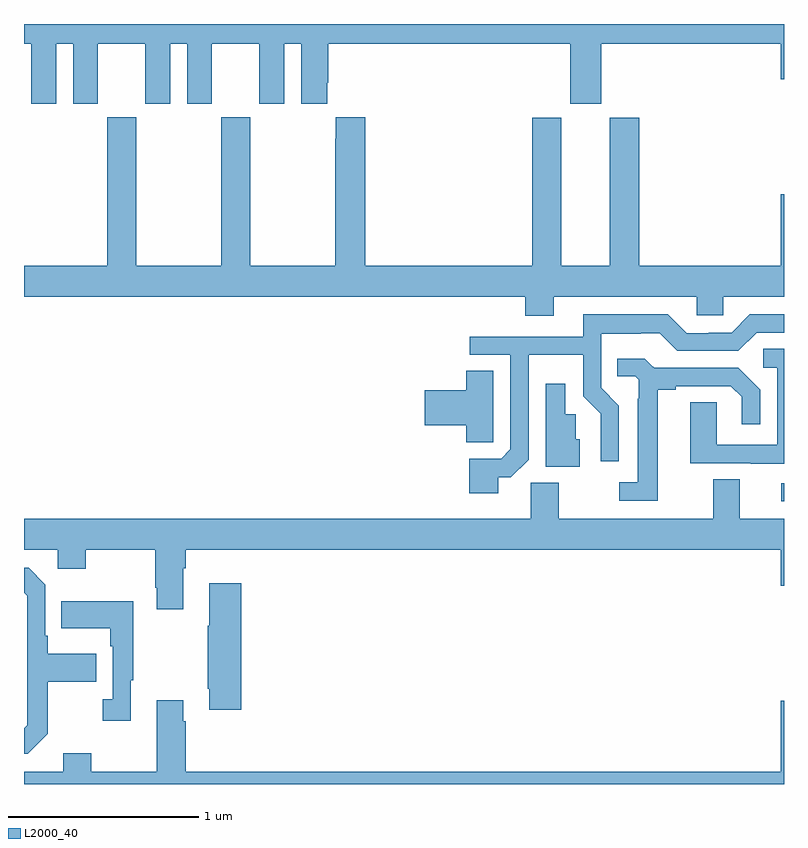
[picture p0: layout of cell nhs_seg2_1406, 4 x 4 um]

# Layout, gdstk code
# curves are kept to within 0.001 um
import gdstk
lib = gdstk.Library(unit=1e-6, precision=1e-09)
def R(c, l, rs):  # rectangles x0, y0, x1, y1
    for r in rs: c.add(gdstk.rectangle(r[:2], r[2:], *l))
def P(c, l, *ps):  # polygons
    for p in ps: c.add(gdstk.Polygon(p, *l))
L2000_40 = (2000, 40)

nhs_seg2_1406 = lib.new_cell('nhs_seg2_1406')
R(nhs_seg2_1406, L2000_40, [(188.985,585.288,189,585.384)])
P(nhs_seg2_1406, L2000_40, [(185,587.696),(185.039,587.696),(185.039,587.379),(185.17,587.379),(185.17,587.696),(185.258,587.696),(185.258,587.379),(185.389,587.379),(185.389,587.696),(185.639,587.696),(185.639,587.379),(185.77,587.379),(185.77,587.696),(185.858,587.696),(185.858,587.379),(185.989,587.379),(185.989,587.696),(186.239,587.696),(186.239,587.379),(186.37,587.379),(186.37,587.696),(186.458,587.696),(186.458,587.379),(186.595,587.379),(186.595,587.491),(186.602,587.491),(186.602,587.696),(187.874,587.696),(187.874,587.379),(188.038,587.379),(188.038,587.696),(188.984,587.696),(188.984,587.508),(189,587.508),(189,587.8),(185,587.8)],
  [(188.237,587.307),(188.084,587.307),(188.084,586.528),(187.828,586.528),(187.828,587.307),(187.676,587.307),(187.676,586.528),(186.797,586.528),(186.797,587.308),(186.641,587.308),(186.641,587.195),(186.637,587.195),(186.637,586.528),(186.192,586.528),(186.192,587.308),(186.037,587.308),(186.037,586.528),(185.592,586.528),(185.592,587.308),(185.437,587.308),(185.437,586.528),(185,586.528),(185,586.364),(187.637,586.364),(187.637,586.265),(187.789,586.265),(187.789,586.364),(188.541,586.364),(188.541,586.266),(188.679,586.266),(188.679,586.364),(189,586.364),(189,586.903),(188.984,586.903),(188.984,586.528),(188.237,586.528)],
  [(187.495,585.415),(187.563,585.415),(187.656,585.507),(187.656,586.058),(187.944,586.058),(187.944,585.842),(188.036,585.75),(188.036,585.498),(188.13,585.498),(188.13,585.792),(188.037,585.885),(188.037,586.169),(188.246,586.169),(188.246,586.173),(188.346,586.173),(188.439,586.08),(188.76,586.08),(188.856,586.176),(189,586.176),(189,586.272),(188.82,586.272),(188.724,586.176),(188.604,586.176),(188.604,586.173),(188.487,586.173),(188.387,586.273),(187.943,586.273),(187.943,586.155),(187.347,586.155),(187.347,586.059),(187.56,586.059),(187.56,585.561),(187.512,585.513),(187.343,585.513),(187.343,585.33),(187.495,585.33)],
  [(189,586.091),(188.892,586.091),(188.892,585.99),(188.964,585.99),(188.964,585.585),(188.646,585.585),(188.646,585.809),(188.507,585.809),(188.507,585.489),(188.825,585.489),(188.825,585.485),(189,585.485)],
  [(188.335,585.874),(188.431,585.874),(188.431,585.894),(188.72,585.894),(188.777,585.837),(188.777,585.693),(188.874,585.693),(188.874,585.874),(188.758,585.99),(188.316,585.99),(188.268,586.037),(188.122,586.037),(188.122,585.945),(188.217,585.945),(188.235,585.927),(188.235,585.827),(188.231,585.827),(188.231,585.387),(188.133,585.387),(188.133,585.291),(188.335,585.291)],
  [(187.47,585.706),(187.471,585.706),(187.471,585.974),(187.328,585.974),(187.328,585.872),(187.11,585.872),(187.11,585.689),(187.328,585.689),(187.328,585.598),(187.47,585.598)],
  [(187.924,585.615),(187.905,585.615),(187.905,585.747),(187.849,585.747),(187.849,585.907),(187.745,585.907),(187.745,585.47),(187.924,585.47)],
  [(185.839,584.936),(185.852,584.936),(185.852,585.032),(188.984,585.032),(188.984,584.844),(189,584.844),(189,585.196),(188.767,585.196),(188.767,585.404),(188.627,585.404),(188.627,585.196),(187.815,585.196),(187.815,585.385),(187.668,585.385),(187.668,585.196),(185,585.196),(185,585.032),(185.178,585.032),(185.178,584.933),(185.325,584.933),(185.325,585.032),(185.692,585.032),(185.692,584.833),(185.699,584.833),(185.699,584.721),(185.839,584.721)],
  [(185.125,584.065),(185.125,584.338),(185.381,584.338),(185.381,584.485),(185.125,584.485),(185.125,584.581),(185.112,584.581),(185.112,584.85),(185.025,584.937),(185,584.937),(185,584.806),(185.016,584.79),(185.016,584.109),(185,584.093),(185,583.959),(185.019,583.959)],
  [(186.143,584.857),(185.975,584.857),(185.975,584.633),(185.968,584.633),(185.968,584.302),(185.975,584.302),(185.975,584.19),(186.143,584.19)],
  [(185.563,584.345),(185.575,584.345),(185.575,584.761),(185.197,584.761),(185.197,584.621),(185.454,584.621),(185.454,584.525),(185.466,584.525),(185.466,584.246),(185.415,584.246),(185.415,584.133),(185.563,584.133)],
  [(189,584.239),(188.984,584.239),(188.984,583.864),(185.852,583.864),(185.852,584.129),(185.839,584.129),(185.839,584.242),(185.699,584.242),(185.699,583.864),(185.355,583.864),(185.355,583.963),(185.207,583.963),(185.207,583.864),(185,583.864),(185,583.8),(189,583.8)])

lib.write_gds('nhs_seg2_1406.gds')
